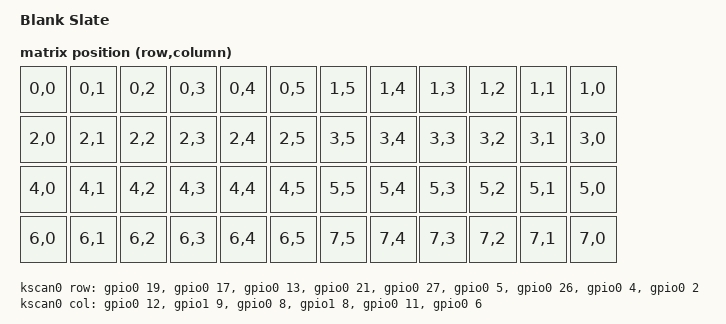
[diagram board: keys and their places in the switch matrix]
/*
 * Copyright (c) 2022 Pete Johanson
 *
 * SPDX-License-Identifier: MIT
 */

/dts-v1/;
#include <nordic/nrf52840_qiaa.dtsi>
#include <common/nordic/nrf52840_uf2_boot_mode.dtsi>
#include <zephyr/dt-bindings/gpio/gpio.h>
#include <zephyr/dt-bindings/regulator/nrf5x.h>
#include <dt-bindings/zmk/matrix_transform.h>
#include <layouts/common/ortho_4x12/all1u.dtsi>

/ {
    model = "Blank Slate";
    compatible = "lpgalaxy,blank-slate";

    chosen {
        zephyr,code-partition = &code_partition;
        zephyr,sram = &sram0;
        zephyr,flash = &flash0;
        zmk,physical-layout = &layout_ortho_4x12_all1u;
        zmk,battery = &vbatt;
    };

    aliases {
        led0 = &blue_led;
    };

    leds {
        compatible = "gpio-leds";
        blue_led: led_0 {
            gpios = <&gpio0 16 GPIO_ACTIVE_HIGH>;
        };
    };

    vbatt: vbatt {
        compatible = "zmk,battery-nrf-vddh";
    };

    // The PCB folds the 4x12 layout into eight rows and six columns.
    // A ninth electrical row is used only by the dedicated power button.
    ortho_transform: ortho_transform {
        compatible = "zmk,matrix-transform";
        rows = <9>;
        columns = <6>;
        map = <
RC(0,0) RC(0,1) RC(0,2) RC(0,3) RC(0,4) RC(0,5) RC(1,5) RC(1,4) RC(1,3) RC(1,2) RC(1,1) RC(1,0)
RC(2,0) RC(2,1) RC(2,2) RC(2,3) RC(2,4) RC(2,5) RC(3,5) RC(3,4) RC(3,3) RC(3,2) RC(3,1) RC(3,0)
RC(4,0) RC(4,1) RC(4,2) RC(4,3) RC(4,4) RC(4,5) RC(5,5) RC(5,4) RC(5,3) RC(5,2) RC(5,1) RC(5,0)
RC(6,0) RC(6,1) RC(6,2) RC(6,3) RC(6,4) RC(6,5) RC(7,5) RC(7,4) RC(7,3) RC(7,2) RC(7,1) RC(7,0)
        >;
    };

    kscan0: kscan {
        compatible = "zmk,kscan-gpio-matrix";
        wakeup-source;
        debounce-press-ms = <1>;
        debounce-release-ms = <5>;
        diode-direction = "col2row";

        col-gpios
            = <&gpio0 12 GPIO_ACTIVE_HIGH>
            , <&gpio1 9  GPIO_ACTIVE_HIGH>
            , <&gpio0 8  GPIO_ACTIVE_HIGH>
            , <&gpio1 8  GPIO_ACTIVE_HIGH>
            , <&gpio0 11 GPIO_ACTIVE_HIGH>
            , <&gpio0 6  GPIO_ACTIVE_HIGH>
            ;
        row-gpios
            = <&gpio0 19 (GPIO_ACTIVE_HIGH | GPIO_PULL_DOWN)>
            , <&gpio0 17 (GPIO_ACTIVE_HIGH | GPIO_PULL_DOWN)>
            , <&gpio0 13 (GPIO_ACTIVE_HIGH | GPIO_PULL_DOWN)>
            , <&gpio0 21 (GPIO_ACTIVE_HIGH | GPIO_PULL_DOWN)>
            , <&gpio0 27 (GPIO_ACTIVE_HIGH | GPIO_PULL_DOWN)>
            , <&gpio0 5  (GPIO_ACTIVE_HIGH | GPIO_PULL_DOWN)>
            , <&gpio0 26 (GPIO_ACTIVE_HIGH | GPIO_PULL_DOWN)>
            , <&gpio0 4  (GPIO_ACTIVE_HIGH | GPIO_PULL_DOWN)>
            , <&gpio0 2  (GPIO_ACTIVE_HIGH | GPIO_PULL_DOWN)>
            ;
    };

    behaviors {
        hw_soft_off: hw_soft_off {
            compatible = "zmk,behavior-soft-off";
            #binding-cells = <0>;
            display-name = "Power Off (hold 1s)";
            hold-time-ms = <1000>;
        };
    };

    side_band_behavior_triggers: side_band_behavior_triggers {
        compatible = "zmk,kscan-sideband-behaviors";
        wakeup-source;
        kscan = <&kscan0>;

        soft_off {
            row = <8>;
            column = <0>;
            bindings = <&hw_soft_off>;
        };
    };

    keys {
        compatible = "gpio-keys";
        wakeup_key: wakeup_key {
            gpios = <&gpio0 2 (GPIO_ACTIVE_HIGH | GPIO_PULL_DOWN)>;
        };
    };

    wakeup_source: wakeup_source {
        compatible = "zmk,gpio-key-wakeup-trigger";
        trigger = <&wakeup_key>;
        wakeup-source;
        extra-gpios = <&gpio0 12 GPIO_ACTIVE_HIGH>;
    };

    soft_off_wakers {
        compatible = "zmk,soft-off-wakeup-sources";
        wakeup-sources = <&wakeup_source>;
    };
};

&layout_ortho_4x12_all1u {
    transform = <&ortho_transform>;
    kscan = <&side_band_behavior_triggers>;
};

&reg1 {
    regulator-initial-mode = <NRF5X_REG_MODE_DCDC>;
};

&adc {
    status = "okay";
};

&gpiote {
    status = "okay";
};

&gpio0 {
    status = "okay";
};

&gpio1 {
    status = "okay";
};

// The Studio USB RPC snippet attaches a CDC ACM interface to this controller.
zephyr_udc0: &usbd {
    status = "okay";
};

&flash0 {
    // Preserve the original UF2 bootloader and settings partition boundaries.
    partitions {
        compatible = "fixed-partitions";
        #address-cells = <1>;
        #size-cells = <1>;

        sd_partition: partition@0 {
            reg = <0x00000000 0x00001000>;
        };

        code_partition: partition@1000 {
            reg = <0x00001000 0x000d3000>;
        };

        storage_partition: partition@d4000 {
            reg = <0x000d4000 0x00020000>;
        };

        boot_partition: partition@f4000 {
            reg = <0x000f4000 0x0000c000>;
        };
    };
};
